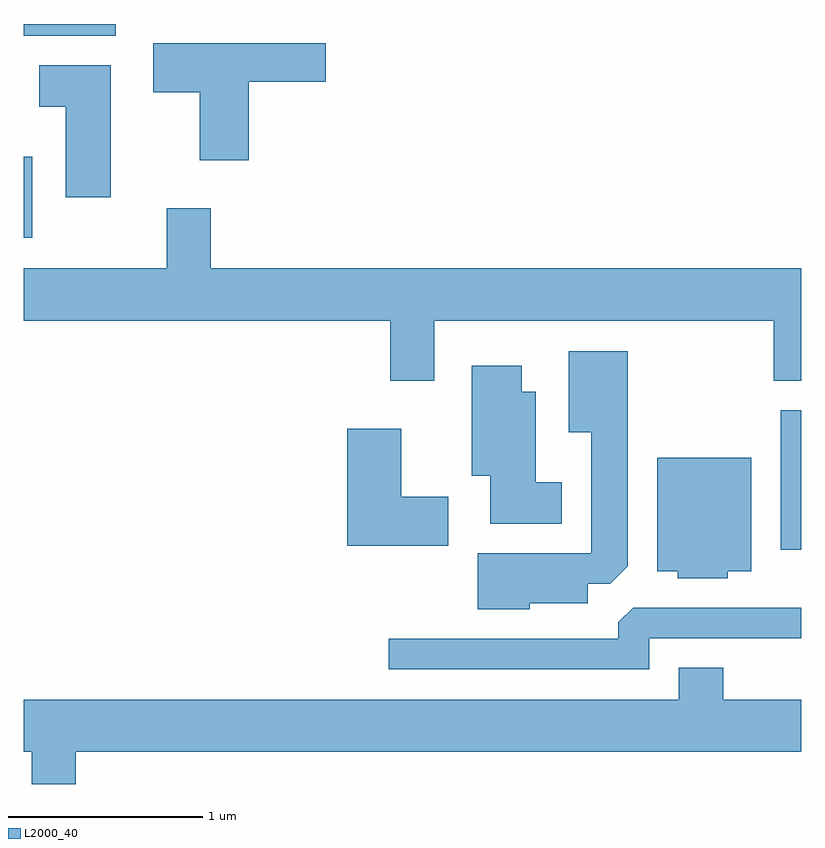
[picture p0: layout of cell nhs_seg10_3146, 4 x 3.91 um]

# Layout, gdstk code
import gdstk
lib = gdstk.Library(unit=1e-6, precision=1e-09)
def R(c, l, rs):  # rectangles x0, y0, x1, y1
    for r in rs: c.add(gdstk.rectangle(r[:2], r[2:], *l))
def P(c, l, *ps):  # polygons
    for p in ps: c.add(gdstk.Polygon(p, *l))
L2000_40 = (2000, 40)

nhs_seg10_3146 = lib.new_cell('nhs_seg10_3146')
R(nhs_seg10_3146, L2000_40, [(281.506,2143.816,281.611,2144.534), (277.611,2145.421,277.654,2145.839), (277.611,2146.461,278.084,2146.522)])
P(nhs_seg10_3146, L2000_40, [(278.769,2146.226),(279.164,2146.226),(279.164,2146.424),(278.276,2146.424),(278.276,2146.171),(278.516,2146.171),(278.516,2145.821),(278.769,2145.821)],
  [(278.059,2146.309),(277.691,2146.309),(277.691,2146.096),(277.826,2146.096),(277.826,2145.631),(278.059,2145.631)],
  [(279.724,2144.996),(281.471,2144.996),(281.471,2144.686),(281.611,2144.686),(281.611,2145.264),(278.574,2145.264),(278.574,2145.574),(278.346,2145.574),(278.346,2145.264),(277.611,2145.264),(277.611,2144.996),(279.496,2144.996),(279.496,2144.686),(279.724,2144.686)],
  [(280.214,2143.541),(280.514,2143.541),(280.514,2143.641),(280.629,2143.641),(280.719,2143.732),(280.719,2144.839),(280.416,2144.839),(280.416,2144.421),(280.531,2144.421),(280.531,2143.799),(279.946,2143.799),(279.946,2143.511),(280.214,2143.511)],
  [(280.379,2144.164),(280.244,2144.164),(280.244,2144.629),(280.174,2144.629),(280.174,2144.764),(279.916,2144.764),(279.916,2144.196),(280.011,2144.196),(280.011,2143.951),(280.379,2143.951)],
  [(279.794,2144.089),(279.554,2144.089),(279.554,2144.439),(279.276,2144.439),(279.276,2143.836),(279.794,2143.836)],
  [(281.234,2143.706),(281.354,2143.706),(281.354,2144.289),(280.871,2144.289),(280.871,2143.706),(280.976,2143.706),(280.976,2143.671),(281.234,2143.671)],
  [(280.829,2143.361),(281.611,2143.361),(281.611,2143.519),(280.747,2143.519),(280.671,2143.444),(280.671,2143.359),(279.488,2143.359),(279.488,2143.201),(280.829,2143.201)],
  [(277.611,2142.776),(277.651,2142.776),(277.651,2142.611),(277.879,2142.611),(277.879,2142.776),(281.611,2142.776),(281.611,2143.044),(281.209,2143.044),(281.209,2143.209),(280.981,2143.209),(280.981,2143.044),(277.611,2143.044)])

lib.write_gds('nhs_seg10_3146.gds')
